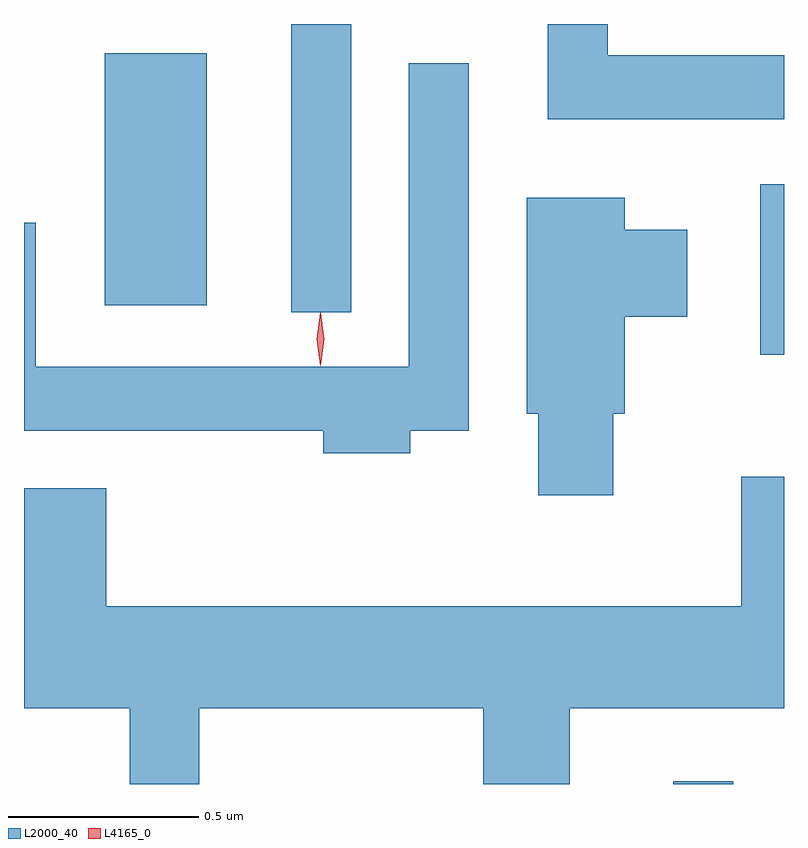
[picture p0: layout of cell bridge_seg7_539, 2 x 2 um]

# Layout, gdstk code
import gdstk
lib = gdstk.Library(unit=1e-6, precision=1e-09)
def R(c, l, rs):  # rectangles x0, y0, x1, y1
    for r in rs: c.add(gdstk.rectangle(r[:2], r[2:], *l))
def P(c, l, *ps):  # polygons
    for p in ps: c.add(gdstk.Polygon(p, *l))
L2000_40 = (2000, 40)
L4165_0 = (4165, 0)

bridge_seg7_539 = lib.new_cell('bridge_seg7_539')
R(bridge_seg7_539, L2000_40, [(1427.031,1671.936,1427.189,1671.943), (1427.261,1673.066,1427.323,1673.514), (1426.026,1673.178,1426.184,1673.936), (1425.536,1673.196,1425.804,1673.859)])
P(bridge_seg7_539, L2000_40, [(1427.323,1673.854),(1426.859,1673.854),(1426.859,1673.936),(1426.701,1673.936),(1426.701,1673.686),(1427.323,1673.686)],
  [(1426.339,1672.866),(1426.494,1672.866),(1426.494,1673.833),(1426.336,1673.833),(1426.336,1673.034),(1425.354,1673.034),(1425.354,1673.413),(1425.323,1673.413),(1425.323,1672.866),(1426.111,1672.866),(1426.111,1672.806),(1426.339,1672.806)],
  [(1426.874,1672.911),(1426.904,1672.911),(1426.904,1673.166),(1427.069,1673.166),(1427.069,1673.394),(1426.904,1673.394),(1426.904,1673.479),(1426.646,1673.479),(1426.646,1672.911),(1426.676,1672.911),(1426.676,1672.696),(1426.874,1672.696)],
  [(1425.784,1672.136),(1426.531,1672.136),(1426.531,1671.936),(1426.759,1671.936),(1426.759,1672.136),(1427.323,1672.136),(1427.323,1672.744),(1427.211,1672.744),(1427.211,1672.404),(1425.539,1672.404),(1425.539,1672.714),(1425.323,1672.714),(1425.323,1672.136),(1425.601,1672.136),(1425.601,1671.936),(1425.784,1671.936)])
P(bridge_seg7_539, L4165_0, [(1426.103,1673.037),(1426.103,1673.038),(1426.093,1673.107),(1426.103,1673.176),(1426.103,1673.176),(1426.104,1673.176),(1426.113,1673.107),(1426.104,1673.038)])

lib.write_gds('bridge_seg7_539.gds')
